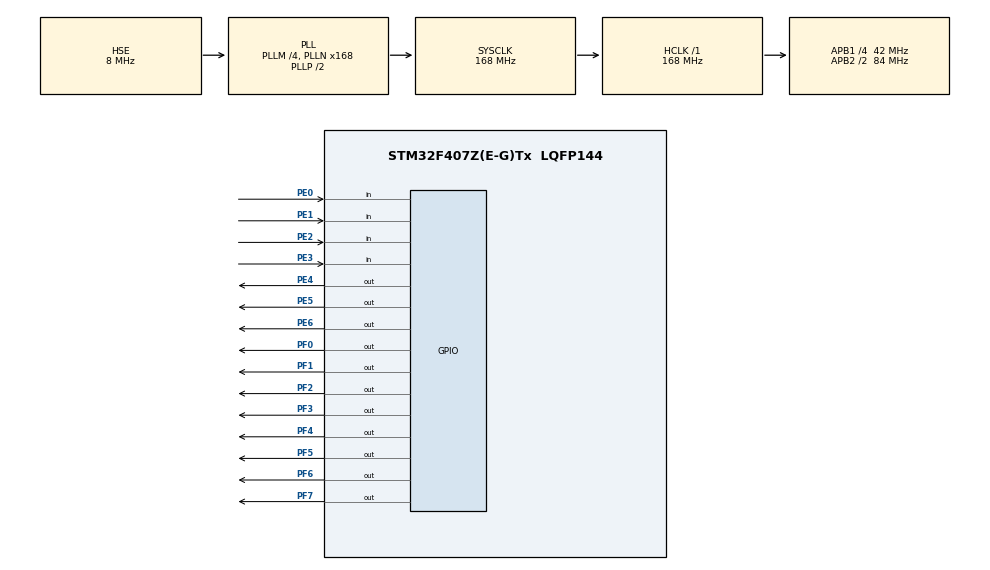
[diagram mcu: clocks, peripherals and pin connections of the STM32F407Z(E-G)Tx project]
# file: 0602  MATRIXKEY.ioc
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Mcu.Family=STM32F4
Mcu.Name=STM32F407Z(E-G)Tx
Mcu.Package=LQFP144
NVIC.PriorityGroup=NVIC_PRIORITYGROUP_4
PA13.Mode=Serial_Wire
PA13.Signal=SYS_JTMS-SWDIO
PA14.Mode=Serial_Wire
PA14.Signal=SYS_JTCK-SWCLK
PC14-OSC32_IN.Mode=LSE-External-Oscillator
PC14-OSC32_IN.Signal=RCC_OSC32_IN
PC15-OSC32_OUT.Mode=LSE-External-Oscillator
PC15-OSC32_OUT.Signal=RCC_OSC32_OUT
PE0.GPIO_PuPd=GPIO_PULLUP
PE0.Signal=GPIO_Input
PE1.GPIO_PuPd=GPIO_PULLUP
PE1.Signal=GPIO_Input
PE2.GPIO_PuPd=GPIO_PULLUP
PE2.Signal=GPIO_Input
PE3.GPIO_PuPd=GPIO_PULLUP
PE3.Signal=GPIO_Input
PE4.GPIO_ModeDefaultOutputPP=GPIO_MODE_OUTPUT_PP
PE4.GPIO_PuPd=GPIO_NOPULL
PE4.PinState=GPIO_PIN_SET
PE4.Signal=GPIO_Output
PE5.GPIO_PuPd=GPIO_NOPULL
PE5.PinState=GPIO_PIN_SET
PE5.Signal=GPIO_Output
PE6.PinState=GPIO_PIN_SET
PE6.Signal=GPIO_Output
PF0.GPIO_ModeDefaultOutputPP=GPIO_MODE_OUTPUT_PP
PF0.GPIO_PuPd=GPIO_NOPULL
PF0.GPIO_Speed=GPIO_SPEED_FREQ_LOW
PF0.PinState=GPIO_PIN_SET
PF0.Signal=GPIO_Output
PF1.GPIO_ModeDefaultOutputPP=GPIO_MODE_OUTPUT_PP
PF1.GPIO_PuPd=GPIO_NOPULL
PF1.GPIO_Speed=GPIO_SPEED_FREQ_LOW
PF1.PinState=GPIO_PIN_SET
PF1.Signal=GPIO_Output
PF2.GPIO_ModeDefaultOutputPP=GPIO_MODE_OUTPUT_PP
PF2.GPIO_PuPd=GPIO_NOPULL
PF2.GPIO_Speed=GPIO_SPEED_FREQ_LOW
PF2.PinState=GPIO_PIN_SET
PF2.Signal=GPIO_Output
PF3.GPIO_ModeDefaultOutputPP=GPIO_MODE_OUTPUT_PP
PF3.GPIO_PuPd=GPIO_NOPULL
PF3.GPIO_Speed=GPIO_SPEED_FREQ_LOW
PF3.PinState=GPIO_PIN_SET
PF3.Signal=GPIO_Output
PF4.GPIO_ModeDefaultOutputPP=GPIO_MODE_OUTPUT_PP
PF4.GPIO_PuPd=GPIO_NOPULL
PF4.GPIO_Speed=GPIO_SPEED_FREQ_LOW
PF4.PinState=GPIO_PIN_SET
PF4.Signal=GPIO_Output
PF5.GPIO_ModeDefaultOutputPP=GPIO_MODE_OUTPUT_PP
PF5.GPIO_PuPd=GPIO_NOPULL
PF5.GPIO_Speed=GPIO_SPEED_FREQ_LOW
PF5.PinState=GPIO_PIN_SET
PF5.Signal=GPIO_Output
PF6.GPIO_ModeDefaultOutputPP=GPIO_MODE_OUTPUT_PP
PF6.GPIO_PuPd=GPIO_NOPULL
PF6.GPIO_Speed=GPIO_SPEED_FREQ_LOW
PF6.PinState=GPIO_PIN_SET
PF6.Signal=GPIO_Output
PF7.GPIO_ModeDefaultOutputPP=GPIO_MODE_OUTPUT_PP
PF7.GPIO_PuPd=GPIO_NOPULL
PF7.GPIO_Speed=GPIO_SPEED_FREQ_LOW
PF7.PinState=GPIO_PIN_SET
PF7.Signal=GPIO_Output
PH0-OSC_IN.Mode=HSE-External-Oscillator
PH0-OSC_IN.Signal=RCC_OSC_IN
PH1-OSC_OUT.Mode=HSE-External-Oscillator
PH1-OSC_OUT.Signal=RCC_OSC_OUT
ProjectManager.HeapSize=0x200
ProjectManager.StackSize=0x400
ProjectManager.TargetToolchain=MDK-ARM V5.32
RCC.48MHZClocksFreq_Value=84000000
RCC.AHBFreq_Value=168000000
RCC.APB1CLKDivider=RCC_HCLK_DIV4
RCC.APB1Freq_Value=42000000
RCC.APB1TimFreq_Value=84000000
RCC.APB2CLKDivider=RCC_HCLK_DIV2
RCC.APB2Freq_Value=84000000
RCC.APB2TimFreq_Value=168000000
RCC.CortexFreq_Value=168000000
RCC.HCLKFreq_Value=168000000
RCC.HSE_VALUE=8000000
RCC.HSI_VALUE=16000000
RCC.PLLM=4
RCC.PLLN=168
RCC.PLLSourceVirtual=RCC_PLLSOURCE_HSE
RCC.SYSCLKFreq_VALUE=168000000
RCC.SYSCLKSource=RCC_SYSCLKSOURCE_PLLCLK
RCC.VCOOutputFreq_Value=336000000
board=custom

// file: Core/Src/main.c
/* USER CODE BEGIN Header */
/**
  ******************************************************************************
  * @file           : main.c
  * @brief          : Main program body
  ******************************************************************************
  * @attention
  *
  * Copyright (c) 2026 STMicroelectronics.
  * All rights reserved.
  *
  * This software is licensed under terms that can be found in the LICENSE file
  * in the root directory of this software component.
  * If no LICENSE file comes with this software, it is provided AS-IS.
  *
  ******************************************************************************
  */
/* USER CODE END Header */
#include "main.h"
#include "gpio.h"

void SystemClock_Config(void);

int main(void)
{

  /* USER CODE BEGIN 1 */
uint16_t i,KeyVal=0;
uint8_t PreLine[3]={2,0,1};
  /* USER CODE END 1 */

  /* MCU Configuration--------------------------------------------------------*/

  /* Reset of all peripherals, Initializes the Flash interface and the Systick. */
  HAL_Init();

  /* Configure the system clock */
  SystemClock_Config();

  /* Initialize all configured peripherals */
  MX_GPIO_Init();

  /* Infinite loop */
  /* USER CODE BEGIN WHILE */
  while (1)
  {
for(i=0;i<3;i++)
	{
		// ?????,????
		GPIOE->ODR = ~(1 << (i+4));
		HAL_Delay(1);
		if((GPIOE->IDR & 0x0F) != 0x0F)  // ?????,????
		{
			HAL_Delay(10);  //??
			if((GPIOE->IDR & 0x0F) != 0x0F)
			{
				switch((GPIOE->IDR & 0x0F))
				{
					case 0x0E: KeyVal = 4*PreLine[i]+1;break;
					case 0x0D: KeyVal = 4*PreLine[i]+2;break;
					case 0x0B: KeyVal = 4*PreLine[i]+3;break;
					case 0x07: KeyVal = 4*PreLine[i]+4;break;
					default:break;
				}
				while((GPIOE->IDR & 0x0F)!=0x0F); //????
			}
		}
	}
	// BCD??:?4???,?4???,???PF
	GPIOF->ODR = ~(((KeyVal/10)<<4)+(KeyVal%10));
    /* USER CODE END WHILE */

  }
}

void SystemClock_Config(void)
{
  RCC_OscInitTypeDef RCC_OscInitStruct = {0};
  RCC_ClkInitTypeDef RCC_ClkInitStruct = {0};

  /** Configure the main internal regulator output voltage
  */
  __HAL_RCC_PWR_CLK_ENABLE();
  __HAL_PWR_VOLTAGESCALING_CONFIG(PWR_REGULATOR_VOLTAGE_SCALE1);

  /** Initializes the RCC Oscillators according to the specified parameters
  * in the RCC_OscInitTypeDef structure.
  */
  RCC_OscInitStruct.OscillatorType = RCC_OSCILLATORTYPE_HSE;
  RCC_OscInitStruct.HSEState = RCC_HSE_ON;
  RCC_OscInitStruct.PLL.PLLState = RCC_PLL_ON;
  RCC_OscInitStruct.PLL.PLLSource = RCC_PLLSOURCE_HSE;
  RCC_OscInitStruct.PLL.PLLM = 4;
  RCC_OscInitStruct.PLL.PLLN = 168;
  RCC_OscInitStruct.PLL.PLLP = RCC_PLLP_DIV2;
  RCC_OscInitStruct.PLL.PLLQ = 4;
  if (HAL_RCC_OscConfig(&RCC_OscInitStruct) != HAL_OK)
  {
    Error_Handler();
  }

  /** Initializes the CPU, AHB and APB buses clocks
  */
  RCC_ClkInitStruct.ClockType = RCC_CLOCKTYPE_HCLK|RCC_CLOCKTYPE_SYSCLK
                              |RCC_CLOCKTYPE_PCLK1|RCC_CLOCKTYPE_PCLK2;
  RCC_ClkInitStruct.SYSCLKSource = RCC_SYSCLKSOURCE_PLLCLK;
  RCC_ClkInitStruct.AHBCLKDivider = RCC_SYSCLK_DIV1;
  RCC_ClkInitStruct.APB1CLKDivider = RCC_HCLK_DIV4;
  RCC_ClkInitStruct.APB2CLKDivider = RCC_HCLK_DIV2;

  if (HAL_RCC_ClockConfig(&RCC_ClkInitStruct, FLASH_LATENCY_5) != HAL_OK)
  {
    Error_Handler();
  }
}

void Error_Handler(void)
{
  __disable_irq();
  while (1)
  {
  }
}
